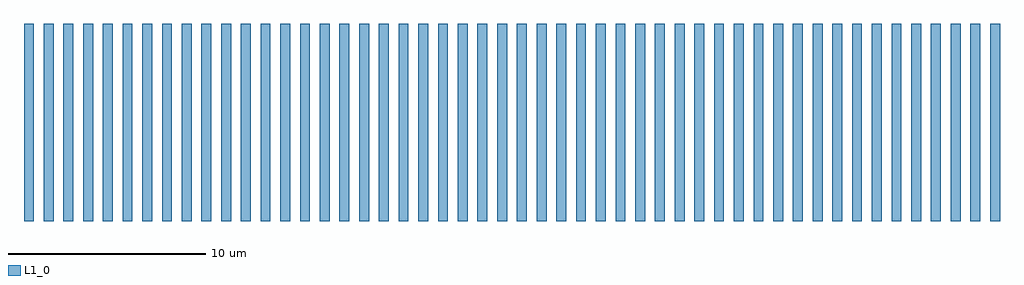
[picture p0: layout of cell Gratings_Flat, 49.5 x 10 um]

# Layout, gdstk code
import gdstk
lib = gdstk.Library(unit=1e-6, precision=1e-09)
def R(c, l, rs):  # rectangles x0, y0, x1, y1
    for r in rs: c.add(gdstk.rectangle(r[:2], r[2:], *l))
def A(c, l, x, y, w, h, nx, ny, dx, dy):  # array of equal rectangles
    R(c, l, [(x+i*dx, y+j*dy, x+i*dx+w, y+j*dy+h) for i in range(nx) for j in range(ny)])
L1_0 = (1, 0)

gratings_flat = lib.new_cell('Gratings_Flat')
A(gratings_flat, L1_0, 0, 0, 0.5, 10, 50, 1, 1, 0)

lib.write_gds('Gratings_Flat.gds')
